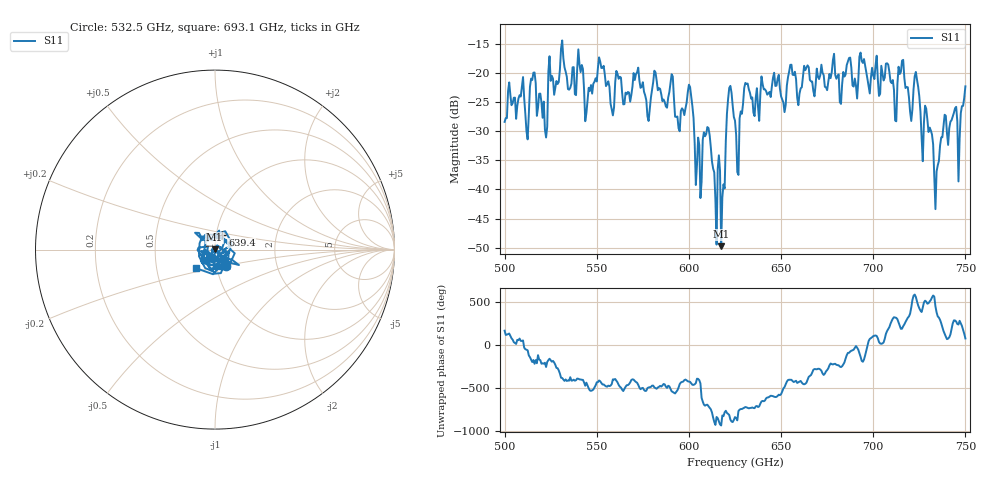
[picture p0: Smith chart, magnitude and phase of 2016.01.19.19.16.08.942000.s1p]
!Created with skrf (http://scikit-rf.org).
# GHz S RI R 50.0
!freq ReS11 ImS11
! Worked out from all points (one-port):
!   401 points, 500 GHz to 750 GHz, reference 50 ohm
!   lowest |S11| = -49.7 dB at 617.5 GHz (marker M1), VSWR 1.01, Z = 49.7 + j0.19 ohm
!   |S11| at or under -10 dB: start of sweep to end of sweep
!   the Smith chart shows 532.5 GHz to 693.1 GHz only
!   S11 on the Smith chart (normalised r, x): 532.5 GHz: 1.11, -0.21; 639.4 GHz: 1.07, +0.18; 693.1 GHz: 0.79, -0.17
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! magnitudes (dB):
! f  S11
! 500 GHz  -28.4
! 509.4 GHz  -22.4
! 511.9 GHz  -30.1
! 515.6 GHz  -20.0
! 521.9 GHz  -29.7
! 531.2 GHz  -14.5
! 532.5 GHz  -19.1
! 544.4 GHz  -26.9
! 551.9 GHz  -18.1
! 562.5 GHz  -20.7
! 590.6 GHz  -20.2
! 593.8 GHz  -27.5
! 600.6 GHz  -22.4
! 605 GHz  -31.1
! 610 GHz  -29.3
! 617.5 GHz  -49.7
! 621.9 GHz  -22.6
! 625 GHz  -28.2
! 639.4 GHz  -20.6
! 656.2 GHz  -20.3
! 687.5 GHz  -17.4
! 693.1 GHz  -16.5
! 718.8 GHz  -22.5
! 723.8 GHz  -21.2
! 734.4 GHz  -36.9
! 738.1 GHz  -29.2
! 746.9 GHz  -31.2
! 750 GHz  -22.3
